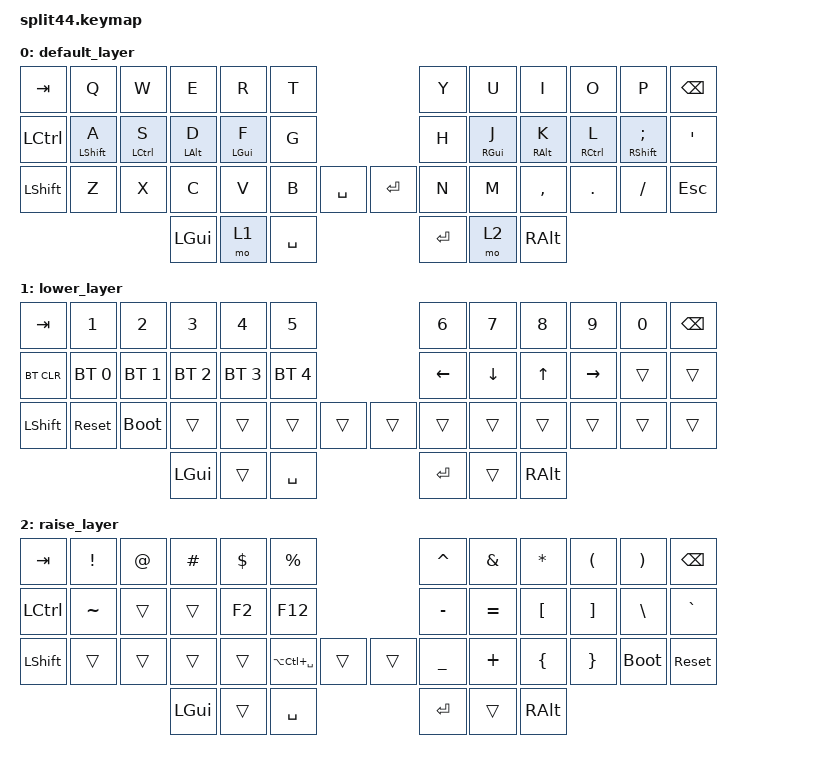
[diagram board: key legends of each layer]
#include <behaviors.dtsi>
#include <dt-bindings/zmk/bt.h>
#include <dt-bindings/zmk/keys.h>

/ {
    behaviors {
        ht_tp: ht_tp {
            compatible = "zmk,behavior-hold-tap";
            label = "HT_TP";
            bindings = <&kp>, <&kp>;

            #binding-cells = <2>;
            flavor = "tap-preferred";
            tapping-term-ms = <200>;
            require-prior-idle-ms = <125>;
            quick-tap-ms = <200>;
        };
    };

    keymap {
        compatible = "zmk,keymap";

        default_layer {
            // -----------------------------------------------------------------------------------------
            // |  TAB |  Q  |  W  |  E  |  R  |  T  |   |  Y  |  U   |  I  |  O  |  P  | BSPC |
            // | CTRL |  A  |  S  |  D  |  F  |  G  |   |  H  |  J   |  K  |  L  |  ;  |  '   |
            // | SHFT |  Z  |  X  |  C  |  V  |  B  |   |  N  |  M   |  ,  |  .  |  /  | ESC  |
            //                    | GUI | LWR | SPC |   | ENT | RSE  | ALT |

            bindings = <
&kp TAB    &kp Q            &kp W           &kp E          &kp R          &kp T                            &kp Y    &kp U          &kp I          &kp O           &kp P               &kp BSPC
&kp LCTRL  &ht_tp LSHIFT A  &ht_tp LCTRL S  &ht_tp LALT D  &ht_tp LGUI F  &kp G                            &kp H    &ht_tp RGUI J  &ht_tp RALT K  &ht_tp RCTRL L  &ht_tp RSHIFT SEMI  &kp SQT
&kp LSHFT  &kp Z            &kp X           &kp C          &kp V          &kp B      &kp SPACE    &kp RET  &kp N    &kp M          &kp COMMA      &kp DOT         &kp FSLH            &kp ESC
                                            &kp LGUI       &mo 1          &kp SPACE                        &kp RET  &mo 2          &kp RALT
            >;
        };

        lower_layer {
            // -----------------------------------------------------------------------------------------
            // |  TAB |  1  |  2  |  3  |  4  |  5  |   |  6  |  7  |  8  |  9  |  0  | BSPC |
            // | BTCLR| BT1 | BT2 | BT3 | BT4 | BT5 |   | LFT | DWN |  UP | RGT |     |      |
            // | SHFT |     |     |     |     |     |   |     |     |     |     |     |      |
            //                    | GUI |     | SPC |   | ENT |     | ALT |

            bindings = <
&kp TAB     &kp N1        &kp N2        &kp N3        &kp N4        &kp N5                          &kp N6    &kp N7    &kp N8    &kp N9     &kp N0  &kp BSPC
&bt BT_CLR  &bt BT_SEL 0  &bt BT_SEL 1  &bt BT_SEL 2  &bt BT_SEL 3  &bt BT_SEL 4                    &kp LEFT  &kp DOWN  &kp UP    &kp RIGHT  &trans  &trans
&kp LSHFT   &sys_reset    &bootloader   &trans        &trans        &trans        &trans    &trans  &trans    &trans    &trans    &trans     &trans  &trans
                                        &kp LGUI      &trans        &kp SPACE                       &kp RET   &trans    &kp RALT
            >;
        };

        raise_layer {
            // -----------------------------------------------------------------------------------------
            // |  TAB |  !  |  @  |  #  |  $  |  %  |   |  ^  |  &  |  *  |  (  |  )  | BSPC |
            // | CTRL |     |     |     |     |     |   |  -  |  =  |  [  |  ]  |  \  |  `   |
            // | SHFT |     |     |     |     |     |   |  _  |  +  |  {  |  }  | "|" |  ~   |
            //                    | GUI |     | SPC |   | ENT |     | ALT |

            bindings = <
&kp TAB    &kp EXCL   &kp AT  &kp HASH  &kp DLLR  &kp PRCNT                            &kp CARET  &kp AMPS   &kp ASTRK  &kp LPAR  &kp RPAR     &kp BSPC
&kp LCTRL  &kp TILDE  &trans  &trans    &kp F2    &kp F12                              &kp MINUS  &kp EQUAL  &kp LBKT   &kp RBKT  &kp BSLH     &kp GRAVE
&kp LSHFT  &trans     &trans  &trans    &trans    &kp LA(LC(SPACE))  &trans    &trans  &kp UNDER  &kp PLUS   &kp LBRC   &kp RBRC  &bootloader  &sys_reset
                              &kp LGUI  &trans    &kp SPACE                            &kp RET    &trans     &kp RALT
            >;
        };
    };
};
